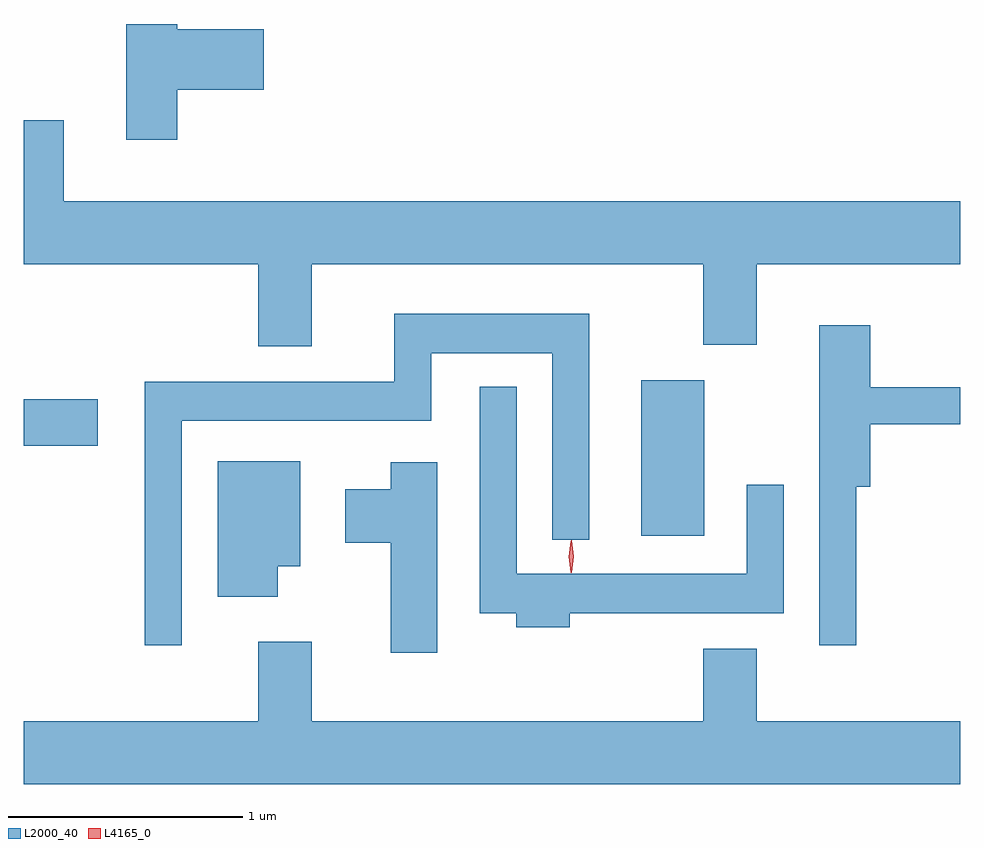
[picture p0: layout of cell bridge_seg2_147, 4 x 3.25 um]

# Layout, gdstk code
import gdstk
lib = gdstk.Library(unit=1e-6, precision=1e-09)
def R(c, l, rs):  # rectangles x0, y0, x1, y1
    for r in rs: c.add(gdstk.rectangle(r[:2], r[2:], *l))
def P(c, l, *ps):  # polygons
    for p in ps: c.add(gdstk.Polygon(p, *l))
L2000_40 = (2000, 40)
L4165_0 = (4165, 0)

bridge_seg2_147 = lib.new_cell('bridge_seg2_147')
R(bridge_seg2_147, L2000_40, [(1080.686,1104.876,1080.954,1105.539), (1078.048,1105.261,1078.364,1105.459)])
P(bridge_seg2_147, L2000_40, [(1078.704,1106.781),(1079.074,1106.781),(1079.074,1107.039),(1078.704,1107.039),(1078.704,1107.061),(1078.486,1107.061),(1078.486,1106.566),(1078.704,1106.566)],
  [(1078.048,1106.649),(1078.048,1106.036),(1079.051,1106.036),(1079.051,1105.686),(1079.279,1105.686),(1079.279,1106.036),(1080.951,1106.036),(1080.951,1105.691),(1081.179,1105.691),(1081.179,1106.036),(1082.048,1106.036),(1082.048,1106.304),(1078.219,1106.304),(1078.219,1106.649)],
  [(1078.724,1105.366),(1079.789,1105.366),(1079.789,1105.656),(1080.306,1105.656),(1080.306,1104.858),(1080.464,1104.858),(1080.464,1105.824),(1079.631,1105.824),(1079.631,1105.534),(1078.566,1105.534),(1078.566,1104.408),(1078.724,1104.408)],
  [(1081.604,1105.086),(1081.664,1105.086),(1081.664,1105.351),(1082.048,1105.351),(1082.048,1105.509),(1081.664,1105.509),(1081.664,1105.774),(1081.446,1105.774),(1081.446,1104.408),(1081.604,1104.408)],
  [(1080.379,1104.546),(1081.294,1104.546),(1081.294,1105.093),(1081.136,1105.093),(1081.136,1104.714),(1080.154,1104.714),(1080.154,1105.513),(1079.996,1105.513),(1079.996,1104.546),(1080.151,1104.546),(1080.151,1104.486),(1080.379,1104.486)],
  [(1079.134,1104.746),(1079.229,1104.746),(1079.229,1105.194),(1078.876,1105.194),(1078.876,1104.616),(1079.134,1104.616)],
  [(1079.814,1105.189),(1079.616,1105.189),(1079.616,1105.074),(1079.421,1105.074),(1079.421,1104.846),(1079.616,1104.846),(1079.616,1104.376),(1079.814,1104.376)],
  [(1082.048,1104.084),(1081.179,1104.084),(1081.179,1104.394),(1080.951,1104.394),(1080.951,1104.084),(1079.279,1104.084),(1079.279,1104.424),(1079.051,1104.424),(1079.051,1104.084),(1078.048,1104.084),(1078.048,1103.816),(1082.048,1103.816)])
P(bridge_seg2_147, L4165_0, [(1080.385,1104.719),(1080.385,1104.72),(1080.375,1104.786),(1080.384,1104.852),(1080.385,1104.853),(1080.386,1104.852),(1080.395,1104.786),(1080.386,1104.72)],
  [(1080.387,1104.717),(1080.378,1104.787),(1080.387,1104.856),(1080.388,1104.856),(1080.388,1104.856),(1080.398,1104.787),(1080.388,1104.717),(1080.388,1104.717)])

lib.write_gds('bridge_seg2_147.gds')
